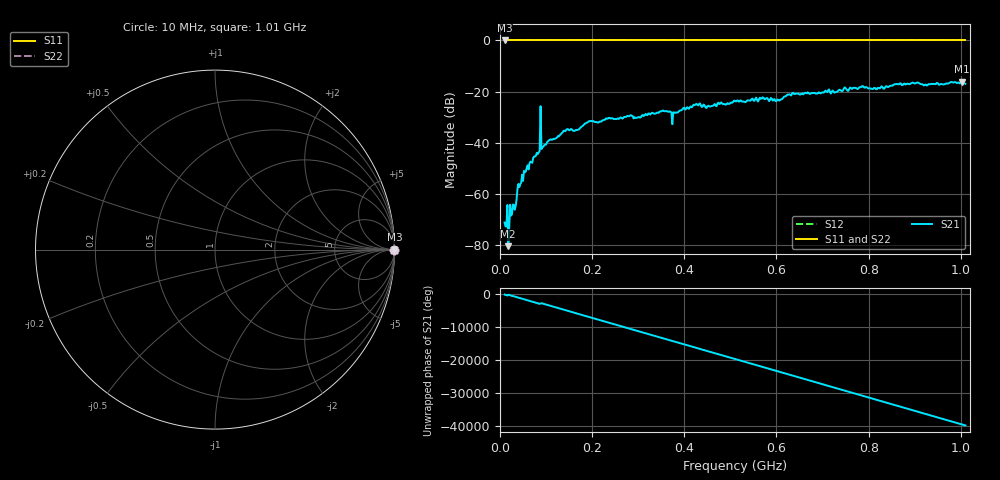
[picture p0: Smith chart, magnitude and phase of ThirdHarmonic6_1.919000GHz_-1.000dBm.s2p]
! 8/16/2025 11:08:39 PM
! C:\ANRITSUVNA\TEMP\TEMP.S2P
! CHANNEL.1
! TR.MEASUREMENT
! RAW.DATA
! RF.CORRECTION.OFF
! AVERAGING.OFF
! IF.BANDWIDTH: 5KHZ
! SWEEPTYPE:  FREQ.SWEEP(Linear)
! Reference Plane Port Info
! PORT:  PORT1  PORT2
! DISTANCE:  0  m  0  m
! TIME:  0  s  0  s
! PHASE.OFFSET:  0  deg.  0  deg.
! LOSS:  0  dB  0  dB
! REF.LOSS:  0  dB  0  dB
! REF.FREQ:  0  Hz  0  Hz
! Power Info
! POWER:  -20  dBm  -20  dBm
! EFF.POWER:  -20  dBm  -20  dBm
! SOURCE.ATTEN:  0  dB  0  dB
! TEST.ATTEN:  0  dB  0  dB
# GHZ S RI R 50.0
! FREQ.GHZ  S11RE  S11IM  S21RE  S21IM  S12RE  S12IM  S22RE  S22IM
!; PortSelection: Port_12
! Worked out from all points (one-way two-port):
!   501 points, 10 MHz to 1.01 GHz, reference 50 ohm
!   highest |S21| = -16.16 dB at 1.002 GHz (marker M1); lowest = -80.6 dB at 18 MHz (marker M2)
!   lowest |S11| = 0.0 dB at 10 MHz (marker M3)
!   |S11| at or under -10 dB: nowhere
!   |S22| runs from 0.0 to 0.0 dB; largest |S21 - S12| = 1.2
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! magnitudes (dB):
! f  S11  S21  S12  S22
! 10 MHz  0.0  -71.3  0.0  0.0
! 12 MHz  0.0  -72.8  0.0  0.0
! 16 MHz  0.0  -64.4  0.0  0.0
! 18 MHz  0.0  -80.6  0.0  0.0
! 22 MHz  0.0  -64.3  0.0  0.0
! 26 MHz  0.0  -68.1  0.0  0.0
! 30 MHz  0.0  -64.4  0.0  0.0
! 44 MHz  0.0  -56.3  0.0  0.0
! 82 MHz  0.0  -44.4  0.0  0.0
! 84 MHz  0.0  -43.8  0.0  0.0
! 92 MHz  0.0  -41.8  0.0  0.0
! 94 MHz  0.0  -41.6  0.0  0.0
! 142 MHz  0.0  -35.5  0.0  0.0
! 178 MHz  0.0  -33.6  0.0  0.0
! 344 MHz  0.0  -28.4  0.0  0.0
! 378 MHz  0.0  -28.2  0.0  0.0
! 424 MHz  0.0  -25.2  0.0  0.0
! 510 MHz  0.0  -23.7  0.0  0.0
! 678 MHz  0.0  -20.6  0.0  0.0
! 844 MHz  0.0  -18.1  0.0  0.0
! 1.002 GHz  0.0  -16.2  0.0  0.0
! 1.01 GHz  0.0  -17.0  0.0  0.0
